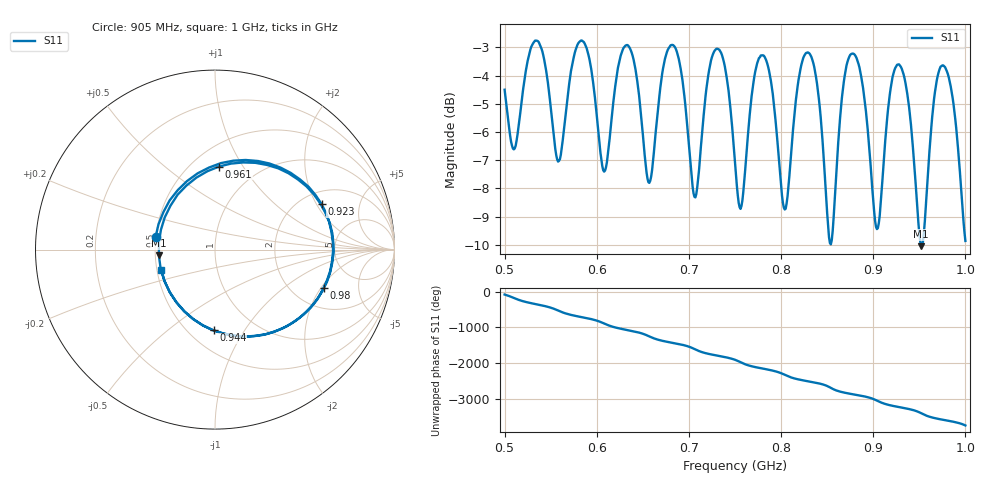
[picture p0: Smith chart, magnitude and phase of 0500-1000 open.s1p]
! NanoVNA-App by SYSJOINT et al v1.1.209 (+OD18)
! Date: 2025-09-17 10:09:25
! Start: 500MHz Stop: 1GHz Points: 501
! S-Parameter data: F S11
# Hz S RI R 50
!  Frequency  S11_Real  S11_Imag
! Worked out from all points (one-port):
!   501 points, 500 MHz to 1 GHz, reference 50 ohm
!   lowest |S11| = -10.1 dB at 952 MHz (marker M1), VSWR 1.92, Z = 26.1 - j1.89 ohm
!   |S11| at or under -10 dB: 951.6943 MHz to 953.1928 MHz (1.499 MHz wide, 0.157 % of centre)
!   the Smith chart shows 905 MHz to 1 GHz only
!   S11 on the Smith chart (normalised r, x): 905 MHz: 0.50, +0.08; 923 MHz: 2.54, +2.21; 944 MHz: 0.65, -0.74; 961 MHz: 0.67, +0.79; 980 MHz: 2.90, -2.12; 1 GHz: 0.53, -0.14
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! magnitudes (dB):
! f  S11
! 500 MHz  -4.5
! 511 MHz  -6.6
! 536 MHz  -2.8
! 563 MHz  -6.3
! 585 MHz  -2.8
! 609 MHz  -7.4
! 625 MHz  -3.4
! 640 MHz  -3.4
! 657 MHz  -7.8
! 688 MHz  -3.3
! 706 MHz  -8.3
! 729 MHz  -3.1
! 750 MHz  -7.1
! 757 MHz  -8.6
! 779 MHz  -3.3
! 803 MHz  -8.7
! 813 MHz  -5.9
! 833 MHz  -3.3
! 854 MHz  -10.0
! 875 MHz  -3.3
! 905 MHz  -9.4
! 923 MHz  -3.8
! 938 MHz  -4.9
! 944 MHz  -6.9
! 952 MHz  -10.1
! 961 MHz  -6.7
! 980 MHz  -3.9
! 1 GHz  -9.9
